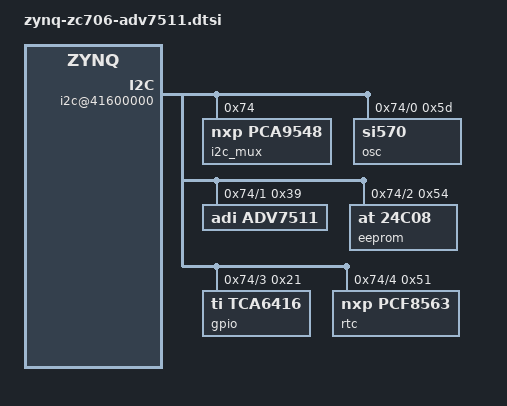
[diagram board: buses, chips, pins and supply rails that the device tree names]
#include <dt-bindings/interrupt-controller/irq.h>

/ {
	fpga_axi: fpga-axi@0 {
		compatible = "simple-bus";
		#address-cells = <0x1>;
		#size-cells = <0x1>;
		ranges;


		i2c@41600000 {
			compatible = "xlnx,axi-iic-1.02.a", "xlnx,xps-iic-2.00.a";
			reg = <0x41600000 0x10000>;
			interrupt-parent = <&intc>;
			interrupts = <0 58 IRQ_TYPE_LEVEL_HIGH>;
			clocks = <&clkc 15>;
			clock-names = "pclk";

			#address-cells = <1>;
			#size-cells = <0>;

			i2c_mux: i2cswitch@74 {
				compatible = "nxp,pca9548";
				#address-cells = <1>;
				#size-cells = <0>;
				reg = <0x74>;

				i2c@0 {
					#address-cells = <1>;
					#size-cells = <0>;
					reg = <0>;
					osc@5d {
						compatible = "si570";
						temperature-stability = <50>;
						reg = <0x5d>;
						factory-fout = <156250000>;
						initial-fout = <148500000>;
					};
				};

				i2c@1 {
				    #address-cells = <1>;
				    #size-cells = <0>;
				    reg = <1>;

				    adv7511: adv7511@39 {
						compatible = "adi,adv7511";
						reg = <0x39>, <0x3f>;
						reg-names = "primary", "edid";

						adi,input-depth = <8>;
						adi,input-colorspace = "rgb";
						adi,input-clock = "1x";
						adi,clock-delay = <0>;

						#sound-dai-cells = <1>;


				    };
				};

				i2c@2 {
					#address-cells = <1>;
					#size-cells = <0>;
					reg = <2>;
					eeprom@54 {
						compatible = "at,24c08";
						reg = <0x54>;
					};
				};

				i2c@3 {
					#address-cells = <1>;
					#size-cells = <0>;
					reg = <3>;
					gpio@21 {
						compatible = "ti,tca6416";
						reg = <0x21>;
						gpio-controller;
						#gpio-cells = <2>;
					};
				};

				i2c@4 {
					#address-cells = <1>;
					#size-cells = <0>;
					reg = <4>;
					rtc@51 {
						compatible = "nxp,pcf8563";
						reg = <0x51>;
					};
				};
			};
		};







		axi_sysid_0: axi-sysid-0@45000000 {
			compatible = "adi,axi-sysid-1.00.a";
			reg = <0x45000000 0x10000>;
		};

	};


};
